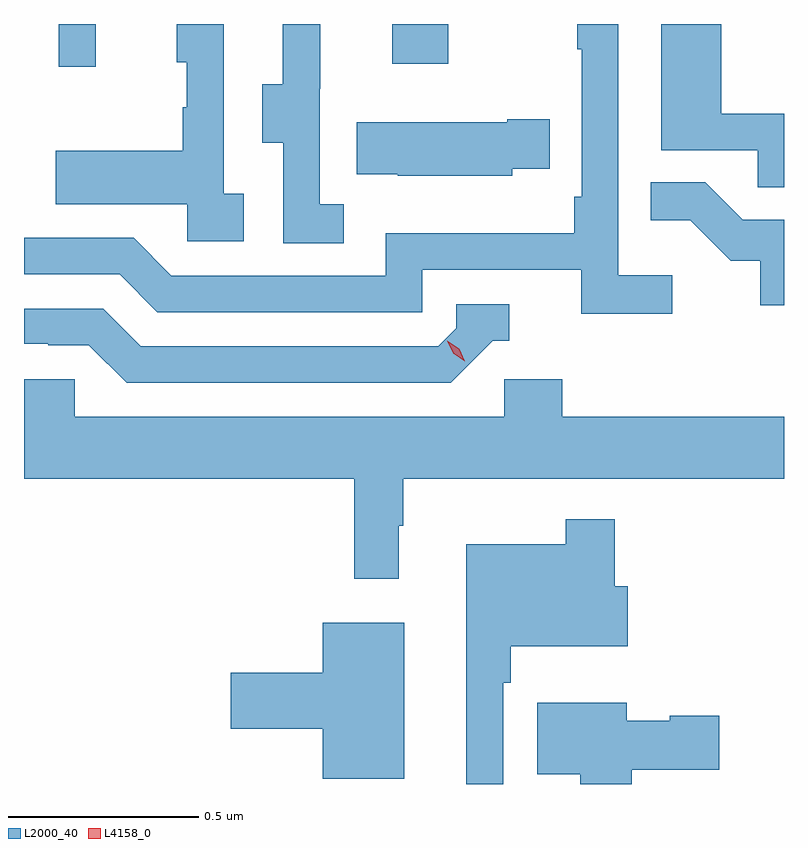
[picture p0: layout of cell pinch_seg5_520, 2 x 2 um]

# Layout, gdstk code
import gdstk
lib = gdstk.Library(unit=1e-6, precision=1e-09)
def R(c, l, rs):  # rectangles x0, y0, x1, y1
    for r in rs: c.add(gdstk.rectangle(r[:2], r[2:], *l))
def P(c, l, *ps):  # polygons
    for p in ps: c.add(gdstk.Polygon(p, *l))
L2000_40 = (2000, 40)
L4158_0 = (4158, 0)

pinch_seg5_520 = lib.new_cell('pinch_seg5_520')
R(pinch_seg5_520, L2000_40, [(915.021,840.528,915.119,840.641), (915.899,840.537,916.047,840.641)])
P(pinch_seg5_520, L2000_40, [(915.508,840.194),(915.456,840.194),(915.456,840.641),(915.332,840.641),(915.332,840.54),(915.358,840.54),(915.358,840.422),(915.348,840.422),(915.348,840.307),(915.013,840.307),(915.013,840.167),(915.36,840.167),(915.36,840.069),(915.508,840.069)],
  [(916.93,840.405),(916.765,840.405),(916.765,840.641),(916.607,840.641),(916.607,840.309),(916.861,840.309),(916.861,840.211),(916.93,840.211)],
  [(915.772,840.167),(915.708,840.167),(915.708,840.471),(915.71,840.471),(915.71,840.641),(915.611,840.641),(915.611,840.483),(915.557,840.483),(915.557,840.328),(915.612,840.328),(915.612,840.064),(915.772,840.064)],
  [(916.636,839.98),(916.494,839.98),(916.494,840.641),(916.386,840.641),(916.386,840.575),(916.398,840.575),(916.398,840.187),(916.378,840.187),(916.378,840.091),(915.882,840.091),(915.882,839.979),(915.318,839.979),(915.219,840.078),(914.93,840.078),(914.93,839.982),(915.182,839.982),(915.281,839.883),(915.978,839.883),(915.978,839.994),(916.397,839.994),(916.397,839.878),(916.636,839.878)],
  [(916.215,840.26),(916.313,840.26),(916.313,840.39),(916.202,840.39),(916.202,840.382),(915.805,840.382),(915.805,840.245),(915.913,840.245),(915.913,840.242),(916.215,840.242)],
  [(916.93,840.126),(916.821,840.126),(916.723,840.224),(916.579,840.224),(916.579,840.125),(916.683,840.125),(916.79,840.018),(916.867,840.018),(916.867,839.901),(916.93,839.901)],
  [(916.164,839.808),(916.207,839.808),(916.207,839.904),(916.068,839.904),(916.068,839.841),(916.02,839.793),(915.237,839.793),(915.138,839.892),(914.93,839.892),(914.93,839.799),(914.994,839.799),(914.994,839.796),(915.101,839.796),(915.2,839.697),(916.053,839.697)],
  [(915.916,839.321),(915.928,839.321),(915.928,839.444),(916.93,839.444),(916.93,839.608),(916.346,839.608),(916.346,839.706),(916.194,839.706),(916.194,839.608),(915.063,839.608),(915.063,839.706),(914.93,839.706),(914.93,839.444),(915.799,839.444),(915.799,839.181),(915.916,839.181)],
  [(916.191,838.907),(916.211,838.907),(916.211,839.003),(916.519,839.003),(916.519,839.161),(916.484,839.161),(916.484,839.338),(916.356,839.338),(916.356,839.272),(916.094,839.272),(916.094,838.641),(916.191,838.641)],
  [(915.931,839.065),(915.716,839.065),(915.716,838.934),(915.474,838.934),(915.474,838.787),(915.716,838.787),(915.716,838.655),(915.931,838.655)],
  [(916.529,838.678),(916.759,838.678),(916.759,838.82),(916.629,838.82),(916.629,838.807),(916.516,838.807),(916.516,838.855),(916.28,838.855),(916.28,838.667),(916.394,838.667),(916.394,838.641),(916.529,838.641)])
P(pinch_seg5_520, L4158_0, [(916.09,839.754),(916.06,839.774),(916.044,839.807),(916.044,839.807),(916.044,839.807),(916.075,839.787),(916.09,839.754),(916.09,839.754)])

lib.write_gds('pinch_seg5_520.gds')
